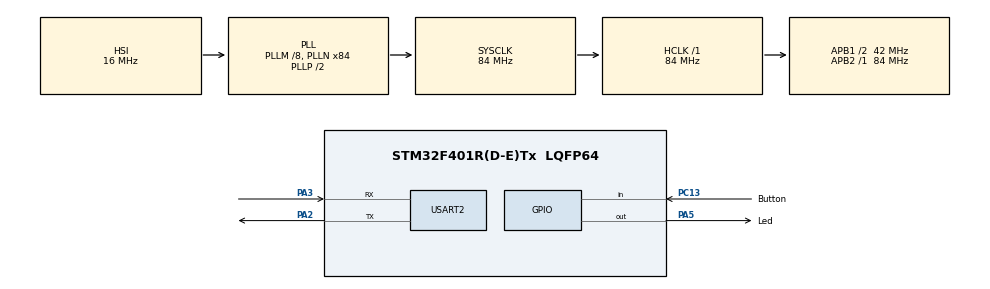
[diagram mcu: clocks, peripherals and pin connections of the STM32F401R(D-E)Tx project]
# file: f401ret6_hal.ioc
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Mcu.Family=STM32F4
Mcu.Name=STM32F401R(D-E)Tx
Mcu.Package=LQFP64
NVIC.PriorityGroup=NVIC_PRIORITYGROUP_4
NVIC.USART2_IRQn=true\:0\:0\:false\:false\:true\:true\:true\:true
PA13.Mode=Serial_Wire
PA13.Signal=SYS_JTMS-SWDIO
PA14.Mode=Serial_Wire
PA14.Signal=SYS_JTCK-SWCLK
PA2.Mode=Asynchronous
PA2.Signal=USART2_TX
PA3.Mode=Asynchronous
PA3.Signal=USART2_RX
PA5.GPIO_Label=Led
PA5.Signal=GPIO_Output
PC13-ANTI_TAMP.GPIO_Label=Button
PC13-ANTI_TAMP.Signal=GPIO_Input
PH0\ -\ OSC_IN.Mode=HSE-External-Clock-Source
PH0\ -\ OSC_IN.Signal=RCC_OSC_IN
PH1\ -\ OSC_OUT.Mode=HSE-External-Clock-Source
PH1\ -\ OSC_OUT.Signal=RCC_OSC_OUT
ProjectManager.HeapSize=0x200
ProjectManager.StackSize=0x400
ProjectManager.TargetToolchain=STM32CubeIDE
RCC.48MHZClocksFreq_Value=42000000
RCC.AHBFreq_Value=84000000
RCC.APB1CLKDivider=RCC_HCLK_DIV2
RCC.APB1Freq_Value=42000000
RCC.APB1TimFreq_Value=84000000
RCC.APB2Freq_Value=84000000
RCC.APB2TimFreq_Value=84000000
RCC.CortexFreq_Value=84000000
RCC.HCLKFreq_Value=84000000
RCC.HSE_VALUE=25000000
RCC.HSI_VALUE=16000000
RCC.LSE_VALUE=32768
RCC.PLLM=8
RCC.PLLN=84
RCC.SYSCLKFreq_VALUE=84000000
RCC.SYSCLKSource=RCC_SYSCLKSOURCE_PLLCLK
RCC.VCOOutputFreq_Value=168000000
USART2.VirtualMode=VM_ASYNC
board=custom

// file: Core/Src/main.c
/* USER CODE BEGIN Header */
/**
  ******************************************************************************
  * @file           : main.c
  * @brief          : Main program body
  ******************************************************************************
  * @attention
  *
  * Copyright (c) 2026 STMicroelectronics.
  * All rights reserved.
  *
  * This software is licensed under terms that can be found in the LICENSE file
  * in the root directory of this software component.
  * If no LICENSE file comes with this software, it is provided AS-IS.
  *
  ******************************************************************************
  */
/* USER CODE END Header */
#include "main.h"
#include "usart.h"
#include "gpio.h"

/* USER CODE BEGIN Includes */
#include "stdio.h"
/* USER CODE END Includes */

/* USER CODE BEGIN PD */
#define USE_SWV   1
/* USER CODE END PD */

/* USER CODE BEGIN PV */

uint8_t RxBuffer[10];
uint8_t TxBuffer[50];

/* USER CODE END PV */

void SystemClock_Config(void);

int main(void)
{

  /* USER CODE BEGIN 1 */
  HAL_StatusTypeDef status;
  uint8_t len = 0;
  /* USER CODE END 1 */

  /* MCU Configuration--------------------------------------------------------*/

  /* Reset of all peripherals, Initializes the Flash interface and the Systick. */
  HAL_Init();

  /* Configure the system clock */
  SystemClock_Config();

  /* Initialize all configured peripherals */
  MX_GPIO_Init();
  MX_USART2_UART_Init();
  /* USER CODE BEGIN 2 */
  len = sprintf((char *)TxBuffer, "Escriba 5 datos-> \r\n");
  HAL_UART_Transmit(&huart2, TxBuffer, len, 100);

  status = HAL_UART_Receive(&huart2, TxBuffer, 5, 1000);
  if(status == HAL_TIMEOUT)
  {
	  len = sprintf((char *)TxBuffer, "Timeout\r\n");
	  HAL_UART_Transmit(&huart2, TxBuffer, len, 100);
  }
  else if(status == HAL_OK)
  {
	  len = sprintf((char *)TxBuffer, "Datos recibidos-> \r\n");
	  HAL_UART_Transmit(&huart2, TxBuffer, len, 100);
  }

  len = sprintf((char *)TxBuffer, "Recibr por IT\r\n");
  HAL_UART_Transmit(&huart2, TxBuffer, len, 100);

  HAL_UART_Receive_IT(&huart2, RxBuffer, 5);

  /* USER CODE END 2 */

  /* Infinite loop */
  /* USER CODE BEGIN WHILE */
  while (1)
  {

	  while(HAL_GPIO_ReadPin(Button_GPIO_Port, Button_Pin) != GPIO_PIN_SET)
	  {
		  HAL_GPIO_TogglePin(Led_GPIO_Port, Led_Pin);
		  HAL_Delay(500);
	  }

    /* USER CODE END WHILE */

  }
}

void SystemClock_Config(void)
{
  RCC_OscInitTypeDef RCC_OscInitStruct = {0};
  RCC_ClkInitTypeDef RCC_ClkInitStruct = {0};

  /** Configure the main internal regulator output voltage
  */
  __HAL_RCC_PWR_CLK_ENABLE();
  __HAL_PWR_VOLTAGESCALING_CONFIG(PWR_REGULATOR_VOLTAGE_SCALE2);

  /** Initializes the RCC Oscillators according to the specified parameters
  * in the RCC_OscInitTypeDef structure.
  */
  RCC_OscInitStruct.OscillatorType = RCC_OSCILLATORTYPE_HSI;
  RCC_OscInitStruct.HSIState = RCC_HSI_ON;
  RCC_OscInitStruct.HSICalibrationValue = RCC_HSICALIBRATION_DEFAULT;
  RCC_OscInitStruct.PLL.PLLState = RCC_PLL_ON;
  RCC_OscInitStruct.PLL.PLLSource = RCC_PLLSOURCE_HSI;
  RCC_OscInitStruct.PLL.PLLM = 8;
  RCC_OscInitStruct.PLL.PLLN = 84;
  RCC_OscInitStruct.PLL.PLLP = RCC_PLLP_DIV2;
  RCC_OscInitStruct.PLL.PLLQ = 4;
  if (HAL_RCC_OscConfig(&RCC_OscInitStruct) != HAL_OK)
  {
    Error_Handler();
  }

  /** Initializes the CPU, AHB and APB buses clocks
  */
  RCC_ClkInitStruct.ClockType = RCC_CLOCKTYPE_HCLK|RCC_CLOCKTYPE_SYSCLK
                              |RCC_CLOCKTYPE_PCLK1|RCC_CLOCKTYPE_PCLK2;
  RCC_ClkInitStruct.SYSCLKSource = RCC_SYSCLKSOURCE_PLLCLK;
  RCC_ClkInitStruct.AHBCLKDivider = RCC_SYSCLK_DIV1;
  RCC_ClkInitStruct.APB1CLKDivider = RCC_HCLK_DIV2;
  RCC_ClkInitStruct.APB2CLKDivider = RCC_HCLK_DIV1;

  if (HAL_RCC_ClockConfig(&RCC_ClkInitStruct, FLASH_LATENCY_2) != HAL_OK)
  {
    Error_Handler();
  }
}

/* USER CODE BEGIN 4 */
void HAL_UART_RxCpltCallback(UART_HandleTypeDef *huart)
{
	//When Completed Data is received from HAL_UART_Receive_IT
}

int __io_putchar(int ch)
{
#if (USE_SWV == 1)
  ITM_SendChar((uint32_t)ch);
#else
  uint8_t c = ch & 0xFF;
  while (!(USART2->SR & USART_SR_TXE));
  USART2->DR = c;
#endif
  return ch;
}

/* USER CODE END 4 */

void Error_Handler(void)
{
  __disable_irq();
  while (1)
  {
  }
}
